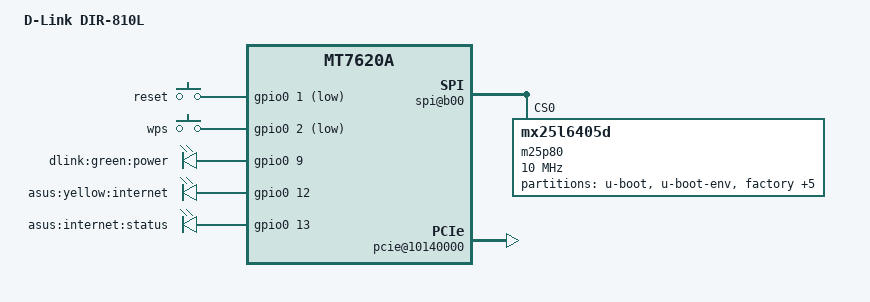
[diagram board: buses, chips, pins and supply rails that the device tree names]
/dts-v1/;

/include/ "mt7620a.dtsi"

/ {
	compatible = "dlink,dir-810l", "ralink,mt7620a-soc";
	model = "D-Link DIR-810L";

	palmbus@10000000 {
		spi@b00 {
			status = "okay";

			m25p80@0 {
				#address-cells = <1>;
				#size-cells = <1>;
				compatible = "mx25l6405d";
				reg = <0 0>;
				linux,modalias = "m25p80";
				spi-max-frequency = <10000000>;

				partition@0 {
					label = "u-boot";
					reg = <0x0 0x30000>;
					read-only;
				};

				partition@30000 {
					label = "u-boot-env";
					reg = <0x30000 0x10000>;
					read-only;
				};

				factory: partition@40000 {
					label = "factory";
					reg = <0x40000 0x10000>;
					read-only;
				};

				factory5g: partition@50000 {
					label = "factory5g";
					reg = <0x50000 0x10000>;
					read-only;
				};

				partition@60000 {
					label = "Wolf_Config";
					reg = <0x60000 0x10000>;
					read-only;
				};

				partition@70000 {
					label = "MyDlink";
					reg = <0x70000 0x80000>;
					read-only;
				};

				partition@e0000 {
					label = "Jffs2";
					reg = <0xe0000 0x80000>;
					read-only;
				};

				partition@170000 {
					label = "firmware";
					reg = <0x170000 0x690000>;
				};
			};
		};
	};

	pinctrl {
		state_default: pinctrl0 {
			gpio {
				ralink,group = "jtag", "mdio", "rgmii1", "rgmii1", "i2c", "wled", "uartf";
				ralink,function = "gpio";
			};
		};
	};

	gsw@10110000 {
		ralink,port4 = "ephy";

		pinctrl-names = "default";
		pinctrl-0 = <&ephy_pins>;
	};

	pcie@10140000 {
		status = "okay";
	};

	gpio-keys-polled {
		compatible = "gpio-keys-polled";
		#address-cells = <1>;
		#size-cells = <0>;
		poll-interval = <20>;
		reset {
			label = "reset";
			gpios = <&gpio0 1 1>;
			linux,code = <0x100>;
		};
		wps {
			label = "wps";
			gpios = <&gpio0 2 1>;
			linux,code = <0x100>;
		};
	};

	gpio-leds {
		compatible = "gpio-leds";
		power {
			label = "dlink:green:power";
			gpios = <&gpio0 9 0>;
		};
		internet {
			label = "asus:yellow:internet";
			gpios = <&gpio0 12 0>;
		};
		status {
			label = "asus:internet:status";
			gpios = <&gpio0 13 0>;
		};
	};
};
